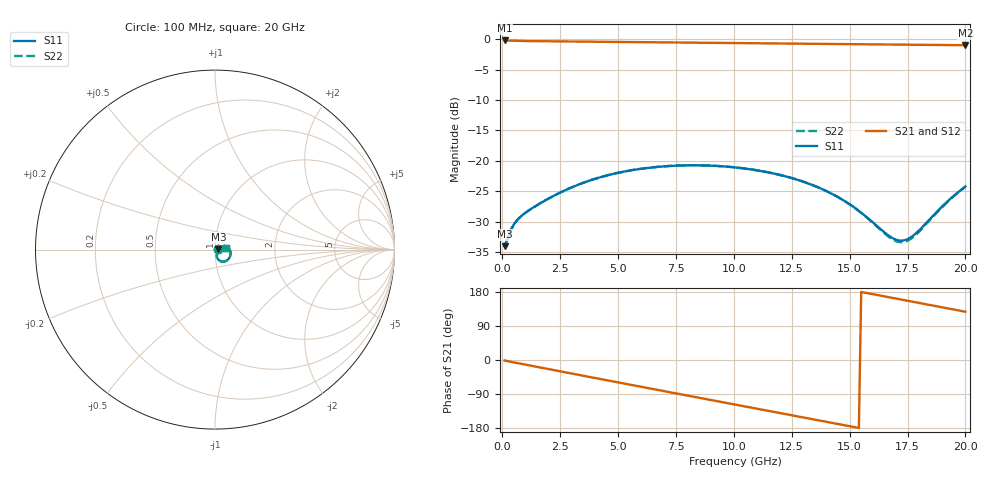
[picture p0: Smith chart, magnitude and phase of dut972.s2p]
! Touchstone file exported from HFSS 2026.1.0
!  File:  C:/ffzhzh/LocalFiles/Ansys_Project_Files/temp_train_TSV_RDL_972_1783286008_39728.aedt
!  Generated:  05:20:00 AM Jul  6, 2026
!  Design:  TSV_RDL
!  Project:  temp_train_TSV_RDL_972_1783286008_39728
! Variables:
!  h_bsmrdl = 3.95um
!  h_ox = 20um
!  h_rdl = 5um
!  h_sub = 54.34um
!  h_tmrdl = 2.61um
!  h_tsv = 54.34um
!  h_via = 3um
!  l_bsmrdl = 817.92um
!  l_sub = 3981.27um
!  l_tmrdl = 250.64um
!  m_sub = 200um
!  pitch = 26.01um
!  r_tsv = 10.03um
!  s_tmrdl = 10um
!  w_bsmrdl = 18.12um
!  w_sub = 500um
!  w_tmrdl = 23.53um
!  x_tsv_center1 = 262.405um
!  x_tsv_center2 = 1098.445um
!  x_tsv_center3 = 1372.615um
!  x_tsv_center4 = 2208.655um
!  x_tsv_center5 = 2482.825um
!  x_tsv_center6 = 3318.865um
# GHz S MA R 50.000000
! Terminal data exported
! Port[1] = TM_RDL1_1_T1
! Port[2] = TM_RDL5_1_T1
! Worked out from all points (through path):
!   200 points, 100 MHz to 20 GHz, reference 50 ohm
!   highest |S21| = -0.17 dB at 100 MHz (marker M1); lowest = -1.0 dB at 20 GHz (marker M2)
!   group delay of S21, straight-line fit = 32.2 ps
!   lowest |S11| = -34.1 dB at 100 MHz (marker M3), VSWR 1.04, Z = 52 + j0.407 ohm
!   |S11| at or under -10 dB: start of sweep to end of sweep
!   |S22| runs from -34.1 to -20.7 dB; largest |S21 - S12| = 4.8e-14
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0.1  0.01983 11.4  0.9806 -1.3  0.9806 -1.3  0.01983 11.4
! Gamma 0 0 0 0
! Port Impedance 50 0 50 0
0.3  0.02507 22.6  0.9775 -3.9  0.9775 -3.9  0.02507 22.6
0.5  0.0299 24.6  0.9742 -6.3  0.9742 -6.3  0.0299 24.6
0.9  0.03615 24.5  0.9704 -11.0  0.9704 -11.0  0.03615 24.5
2.2  0.05128 22.8  0.9647 -26.3  0.9647 -26.3  0.0513 22.8
3.5  0.066 15.2  0.9591 -41.6  0.9591 -41.6  0.06604 15.2
5.2  0.08115 0.8  0.9512 -61.5  0.9512 -61.5  0.08123 0.7
6  0.08606 -6.7  0.9476 -70.7  0.9476 -70.7  0.08617 -6.8
6.8  0.08948 -14.2  0.944 -80.0  0.944 -80.0  0.08961 -14.3
7.6  0.09141 -21.7  0.9406 -89.3  0.9406 -89.3  0.09155 -21.9
8.4  0.09187 -29.1  0.9373 -98.5  0.9373 -98.5  0.09203 -29.3
9.2  0.09089 -36.4  0.9341 -107.8  0.9341 -107.8  0.09105 -36.7
10.1  0.08809 -44.4  0.9307 -118.1  0.9307 -118.1  0.08826 -44.6
11.8  0.07804 -58.4  0.9247 -137.7  0.9247 -137.7  0.07818 -58.8
13.4  0.06315 -69.4  0.9193 -156.2  0.9193 -156.2  0.06324 -69.9
14.3  0.05274 -73.6  0.9163 -166.6  0.9163 -166.6  0.05276 -74.3
15.1  0.04261 -74.7  0.9137 -175.8  0.9137 -175.8  0.04253 -75.6
16.7  0.0241 -54.9  0.9083 165.7  0.9083 165.7  0.02361 -56.1
17.2  0.02203 -37.0  0.9066 159.9  0.9066 159.9  0.02139 -37.6
17.6  0.02319 -21.4  0.9052 155.2  0.9052 155.2  0.0225 -21.4
18.8  0.0386 4.1  0.9008 141.3  0.9008 141.3  0.03809 4.7
20  0.06152 6.3  0.896 127.4  0.896 127.4  0.06116 6.8
